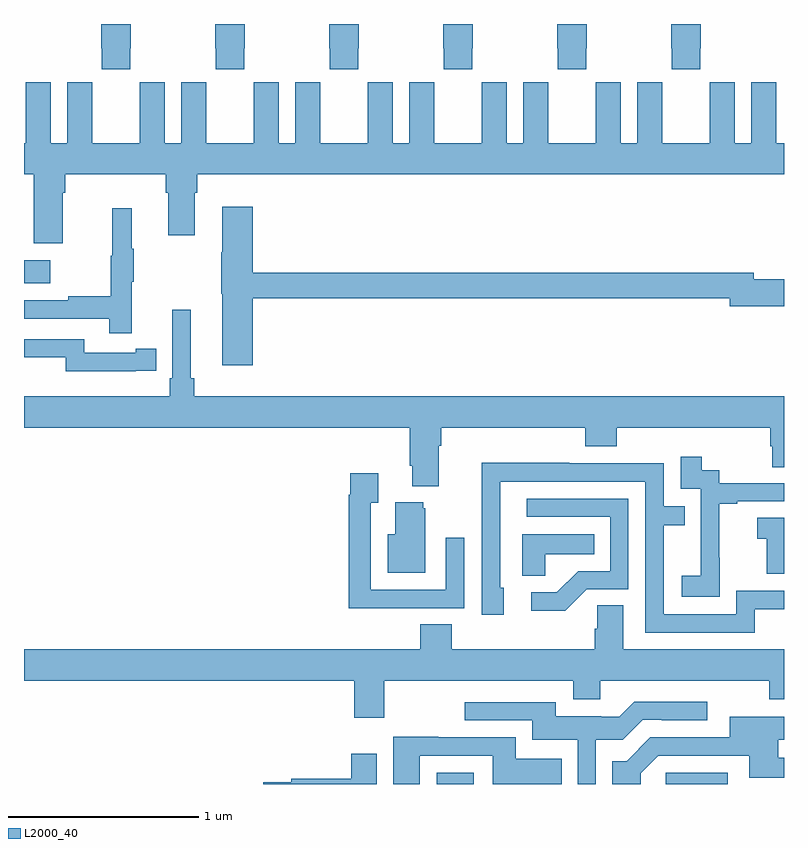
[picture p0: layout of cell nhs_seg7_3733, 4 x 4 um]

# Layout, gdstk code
import gdstk
lib = gdstk.Library(unit=1e-6, precision=1e-09)
def R(c, l, rs):  # rectangles x0, y0, x1, y1
    for r in rs: c.add(gdstk.rectangle(r[:2], r[2:], *l))
def P(c, l, *ps):  # polygons
    for p in ps: c.add(gdstk.Polygon(p, *l))
L2000_40 = (2000, 40)

nhs_seg7_3733 = lib.new_cell('nhs_seg7_3733')
R(nhs_seg7_3733, L2000_40, [(349.173,1072,349.366,1072.06), (350.378,1072,350.704,1072.06), (347,1074.635,347.137,1074.757)])
P(nhs_seg7_3733, L2000_40, [(350.559,1075.873),(350.562,1075.873),(350.562,1076),(350.407,1076),(350.407,1075.873),(350.409,1075.873),(350.409,1075.761),(350.559,1075.761)],
  [(349.959,1075.873),(349.962,1075.873),(349.962,1076),(349.807,1076),(349.807,1075.873),(349.809,1075.873),(349.809,1075.761),(349.959,1075.761)],
  [(349.359,1075.873),(349.362,1075.873),(349.362,1076),(349.207,1076),(349.207,1075.873),(349.209,1075.873),(349.209,1075.761),(349.359,1075.761)],
  [(348.607,1075.873),(348.609,1075.873),(348.609,1075.761),(348.759,1075.761),(348.759,1075.873),(348.762,1075.873),(348.762,1076),(348.607,1076)],
  [(348.159,1075.873),(348.162,1075.873),(348.162,1076),(348.007,1076),(348.007,1075.873),(348.009,1075.873),(348.009,1075.761),(348.159,1075.761)],
  [(347.559,1075.873),(347.562,1075.873),(347.562,1076),(347.407,1076),(347.407,1075.873),(347.409,1075.873),(347.409,1075.761),(347.559,1075.761)],
  [(347.828,1075.693),(347.828,1075.372),(347.74,1075.372),(347.74,1075.693),(347.61,1075.693),(347.61,1075.58),(347.609,1075.58),(347.609,1075.372),(347.359,1075.372),(347.359,1075.58),(347.358,1075.58),(347.358,1075.693),(347.228,1075.693),(347.228,1075.372),(347.14,1075.372),(347.14,1075.693),(347.01,1075.693),(347.01,1075.58),(347.009,1075.58),(347.009,1075.372),(347,1075.372),(347,1075.208),(347.051,1075.208),(347.051,1074.846),(347.203,1074.846),(347.203,1075.112),(347.216,1075.112),(347.216,1075.208),(347.747,1075.208),(347.747,1075.112),(347.759,1075.112),(347.759,1074.888),(347.899,1074.888),(347.899,1075.112),(347.912,1075.112),(347.912,1075.208),(351,1075.208),(351,1075.372),(350.959,1075.372),(350.959,1075.58),(350.958,1075.58),(350.958,1075.693),(350.828,1075.693),(350.828,1075.372),(350.74,1075.372),(350.74,1075.693),(350.61,1075.693),(350.61,1075.58),(350.609,1075.58),(350.609,1075.372),(350.359,1075.372),(350.359,1075.58),(350.358,1075.58),(350.358,1075.693),(350.228,1075.693),(350.228,1075.372),(350.14,1075.372),(350.14,1075.693),(350.01,1075.693),(350.01,1075.58),(350.009,1075.58),(350.009,1075.372),(349.759,1075.372),(349.759,1075.58),(349.758,1075.58),(349.758,1075.693),(349.628,1075.693),(349.628,1075.372),(349.54,1075.372),(349.54,1075.693),(349.41,1075.693),(349.41,1075.58),(349.409,1075.58),(349.409,1075.372),(349.159,1075.372),(349.159,1075.58),(349.158,1075.58),(349.158,1075.693),(349.028,1075.693),(349.028,1075.372),(348.94,1075.372),(348.94,1075.693),(348.81,1075.693),(348.81,1075.58),(348.809,1075.58),(348.809,1075.372),(348.559,1075.372),(348.559,1075.58),(348.558,1075.58),(348.558,1075.693),(348.428,1075.693),(348.428,1075.372),(348.34,1075.372),(348.34,1075.693),(348.21,1075.693),(348.21,1075.58),(348.209,1075.58),(348.209,1075.372),(347.959,1075.372),(347.959,1075.58),(347.958,1075.58),(347.958,1075.693)],
  [(348.203,1074.556),(350.714,1074.556),(350.714,1074.514),(351,1074.514),(351,1074.656),(350.842,1074.656),(350.842,1074.692),(348.203,1074.692),(348.203,1075.039),(348.044,1075.039),(348.044,1074.8),(348.037,1074.8),(348.037,1074.579),(348.044,1074.579),(348.044,1074.204),(348.203,1074.204)],
  [(347.567,1074.643),(347.578,1074.643),(347.578,1074.817),(347.567,1074.817),(347.567,1075.03),(347.464,1075.03),(347.464,1074.78),(347.457,1074.78),(347.457,1074.566),(347.233,1074.566),(347.233,1074.546),(347,1074.546),(347,1074.45),(347.449,1074.45),(347.449,1074.372),(347.567,1074.372)],
  [(349.183,1073.78),(349.196,1073.78),(349.196,1073.876),(349.955,1073.876),(349.955,1073.777),(350.12,1073.777),(350.12,1073.876),(350.927,1073.876),(350.927,1073.778),(350.939,1073.778),(350.939,1073.668),(351,1073.668),(351,1074.04),(347.897,1074.04),(347.897,1074.136),(347.878,1074.136),(347.878,1074.496),(347.781,1074.496),(347.781,1074.136),(347.768,1074.136),(347.768,1074.04),(347,1074.04),(347,1073.876),(349.031,1073.876),(349.031,1073.674),(349.043,1073.674),(349.043,1073.567),(349.183,1073.567)],
  [(347.588,1074.174),(347.696,1074.174),(347.696,1074.29),(347.588,1074.29),(347.588,1074.27),(347.316,1074.27),(347.316,1074.342),(347,1074.342),(347,1074.246),(347.22,1074.246),(347.22,1074.173),(347.588,1074.173)],
  [(350.661,1073.191),(350.66,1073.191),(350.66,1073.475),(350.755,1073.475),(350.755,1073.487),(351,1073.487),(351,1073.583),(350.658,1073.583),(350.658,1073.652),(350.566,1073.652),(350.566,1073.722),(350.457,1073.722),(350.457,1073.553),(350.562,1073.553),(350.562,1073.324),(350.561,1073.324),(350.561,1073.095),(350.463,1073.095),(350.463,1072.985),(350.661,1072.985)],
  [(350.845,1072.92),(351,1072.92),(351,1073.016),(350.748,1073.016),(350.748,1072.893),(350.367,1072.893),(350.367,1073.362),(350.477,1073.362),(350.477,1073.463),(350.367,1073.463),(350.367,1073.688),(349.871,1073.688),(349.871,1073.69),(349.408,1073.69),(349.408,1073.383),(349.41,1073.383),(349.41,1072.89),(349.525,1072.89),(349.525,1073.034),(349.506,1073.034),(349.506,1073.592),(350.271,1073.592),(350.271,1072.797),(350.845,1072.797)],
  [(349.001,1072.926),(349.317,1072.926),(349.317,1073.296),(349.221,1073.296),(349.221,1073.022),(348.825,1073.022),(348.825,1073.479),(348.865,1073.479),(348.865,1073.635),(348.717,1073.635),(348.717,1073.522),(348.709,1073.522),(348.709,1072.925),(349.001,1072.925)],
  [(349.962,1073.025),(350.181,1073.025),(350.181,1073.502),(349.647,1073.502),(349.647,1073.406),(350.085,1073.406),(350.085,1073.121),(349.916,1073.121),(349.805,1073.01),(349.671,1073.01),(349.671,1072.913),(349.849,1072.913)],
  [(349.111,1073.451),(349.1,1073.451),(349.1,1073.482),(348.953,1073.482),(348.953,1073.314),(348.914,1073.314),(348.914,1073.111),(349.111,1073.111)],
  [(351,1073.401),(350.859,1073.401),(350.859,1073.291),(350.908,1073.291),(350.908,1073.106),(351,1073.106)],
  [(349.743,1073.21),(350,1073.21),(350,1073.314),(349.622,1073.314),(349.622,1073.095),(349.743,1073.095)],
  [(348.897,1072.544),(349.892,1072.544),(349.892,1072.445),(350.032,1072.445),(350.032,1072.544),(350.923,1072.544),(350.923,1072.445),(351,1072.445),(351,1072.708),(350.155,1072.708),(350.155,1072.94),(350.016,1072.94),(350.016,1072.817),(350.003,1072.817),(350.003,1072.708),(349.25,1072.708),(349.25,1072.841),(349.085,1072.841),(349.085,1072.708),(347,1072.708),(347,1072.544),(348.737,1072.544),(348.737,1072.35),(348.897,1072.35)],
  [(350.01,1072.233),(350.151,1072.233),(350.256,1072.338),(350.356,1072.338),(350.356,1072.335),(350.596,1072.335),(350.596,1072.432),(350.212,1072.432),(350.133,1072.353),(350.039,1072.353),(350.039,1072.357),(349.798,1072.357),(349.798,1072.431),(349.32,1072.431),(349.32,1072.335),(349.676,1072.335),(349.676,1072.232),(349.914,1072.232),(349.914,1072),(350.01,1072)],
  [(350.245,1072.057),(350.337,1072.149),(350.816,1072.149),(350.816,1072.034),(351,1072.034),(351,1072.138),(350.969,1072.138),(350.969,1072.232),(351,1072.232),(351,1072.354),(350.714,1072.354),(350.714,1072.245),(350.297,1072.245),(350.172,1072.12),(350.095,1072.12),(350.095,1072),(350.245,1072)],
  [(349.083,1072.149),(349.466,1072.149),(349.466,1072),(349.829,1072),(349.829,1072.132),(349.588,1072.132),(349.588,1072.245),(349.18,1072.245),(349.18,1072.25),(348.944,1072.25),(348.944,1072),(349.083,1072)],
  [(348.856,1072.159),(348.722,1072.159),(348.722,1072.028),(348.406,1072.028),(348.406,1072.008),(348.26,1072.008),(348.26,1072),(348.856,1072)])

lib.write_gds('nhs_seg7_3733.gds')
